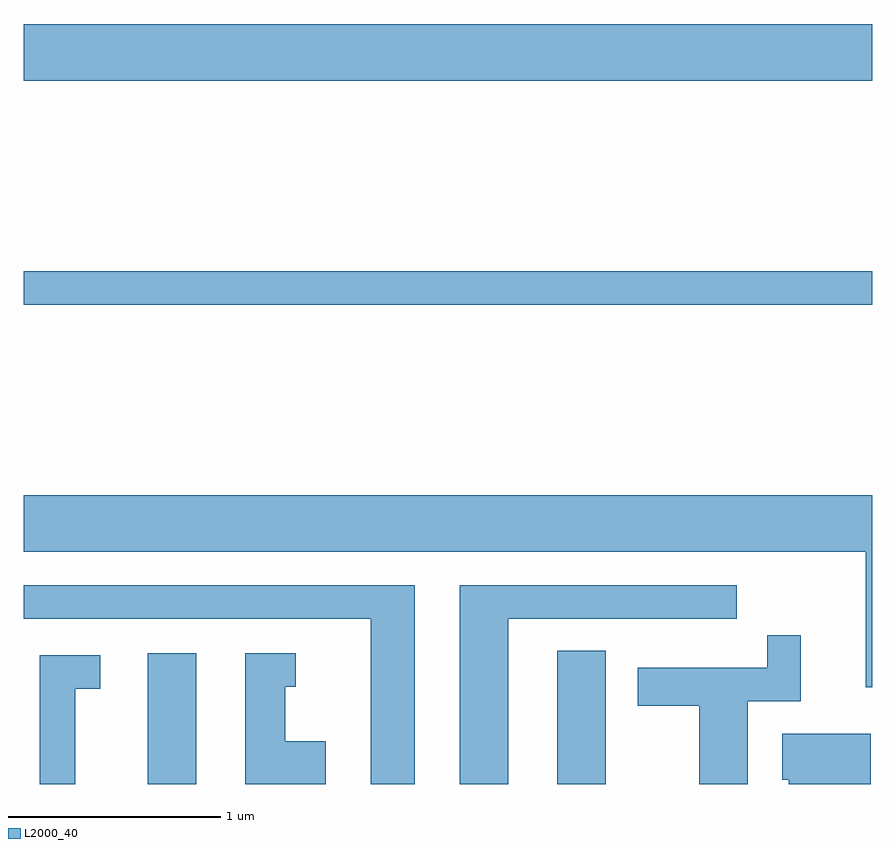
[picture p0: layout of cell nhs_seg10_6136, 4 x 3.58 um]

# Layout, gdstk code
import gdstk
lib = gdstk.Library(unit=1e-6, precision=1e-09)
def R(c, l, rs):  # rectangles x0, y0, x1, y1
    for r in rs: c.add(gdstk.rectangle(r[:2], r[2:], *l))
def P(c, l, *ps):  # polygons
    for p in ps: c.add(gdstk.Polygon(p, *l))
L2000_40 = (2000, 40)

nhs_seg10_6136 = lib.new_cell('nhs_seg10_6136')
R(nhs_seg10_6136, L2000_40, [(366.196,2190.522,366.424,2191.139), (368.126,2190.522,368.354,2191.149), (365.611,2192.781,369.611,2192.939), (365.611,2193.836,369.611,2194.104)])
P(nhs_seg10_6136, L2000_40, [(369.611,2191.884),(365.611,2191.884),(365.611,2191.616),(369.581,2191.616),(369.581,2190.978),(369.611,2190.978)],
  [(367.894,2191.301),(368.973,2191.301),(368.973,2191.459),(367.666,2191.459),(367.666,2190.522),(367.894,2190.522)],
  [(367.454,2191.459),(365.611,2191.459),(365.611,2191.301),(367.246,2191.301),(367.246,2190.522),(367.454,2190.522)],
  [(369.024,2190.911),(369.274,2190.911),(369.274,2191.223),(369.116,2191.223),(369.116,2191.069),(368.506,2191.069),(368.506,2190.891),(368.796,2190.891),(368.796,2190.522),(369.024,2190.522)],
  [(367.034,2190.724),(366.844,2190.724),(366.844,2190.981),(366.893,2190.981),(366.893,2191.139),(366.656,2191.139),(366.656,2190.522),(367.034,2190.522)],
  [(365.854,2190.971),(365.973,2190.971),(365.973,2191.129),(365.686,2191.129),(365.686,2190.522),(365.854,2190.522)],
  [(369.604,2190.759),(369.186,2190.759),(369.186,2190.541),(369.216,2190.541),(369.216,2190.522),(369.604,2190.522)])

lib.write_gds('nhs_seg10_6136.gds')
